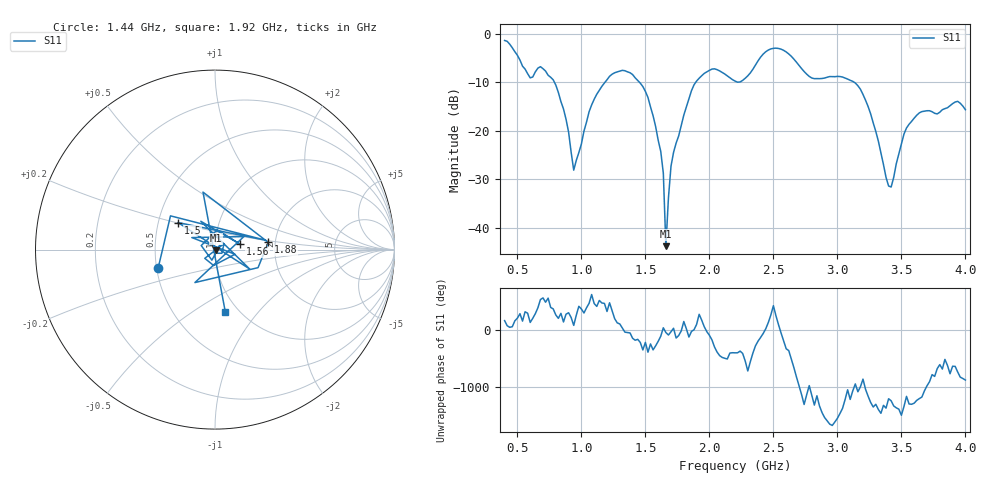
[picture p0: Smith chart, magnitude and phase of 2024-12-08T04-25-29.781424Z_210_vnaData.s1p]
!Created with skrf (http://scikit-rf.org).
# Hz S RI R 50.0
!freq ReS11 ImS11
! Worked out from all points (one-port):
!   181 points, 400 MHz to 4 GHz, reference 50 ohm
!   lowest |S11| = -43.8 dB at 1.66 GHz (marker M1), VSWR 1.01, Z = 50.5 - j0.436 ohm
!   |S11| at or under -10 dB: 790.1 MHz to 1.183 GHz (392.9 MHz wide, 39.8 % of centre); 1.455 GHz to 1.892 GHz (437.3 MHz wide, 26.1 % of centre); 3.134 GHz to end of sweep
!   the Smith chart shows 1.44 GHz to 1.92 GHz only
!   S11 on the Smith chart (normalised r, x): 1.44 GHz: 0.51, -0.12; 1.5 GHz: 0.63, +0.20; 1.56 GHz: 1.32, +0.08; 1.88 GHz: 1.83, +0.16; 1.92 GHz: 0.87, -0.68
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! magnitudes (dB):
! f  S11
! 400 MHz  -1.3
! 600 MHz  -9.0
! 680 MHz  -6.7
! 780 MHz  -9.5
! 860 MHz  -15.5
! 940 MHz  -28.1
! 1.1 GHz  -13.4
! 1.3 GHz  -7.7
! 1.44 GHz  -9.6
! 1.5 GHz  -11.8
! 1.56 GHz  -16.9
! 1.64 GHz  -28.7
! 1.66 GHz  -43.8
! 1.7 GHz  -27.3
! 1.76 GHz  -21.0
! 1.88 GHz  -10.5
! 1.92 GHz  -9.1
! 2.04 GHz  -7.2
! 2.2 GHz  -9.7
! 2.48 GHz  -3.1
! 2.66 GHz  -5.2
! 2.8 GHz  -9.1
! 3.1 GHz  -9.6
! 3.24 GHz  -15.0
! 3.4 GHz  -31.4
! 3.56 GHz  -18.6
! 3.92 GHz  -14.0
! 4 GHz  -15.6
